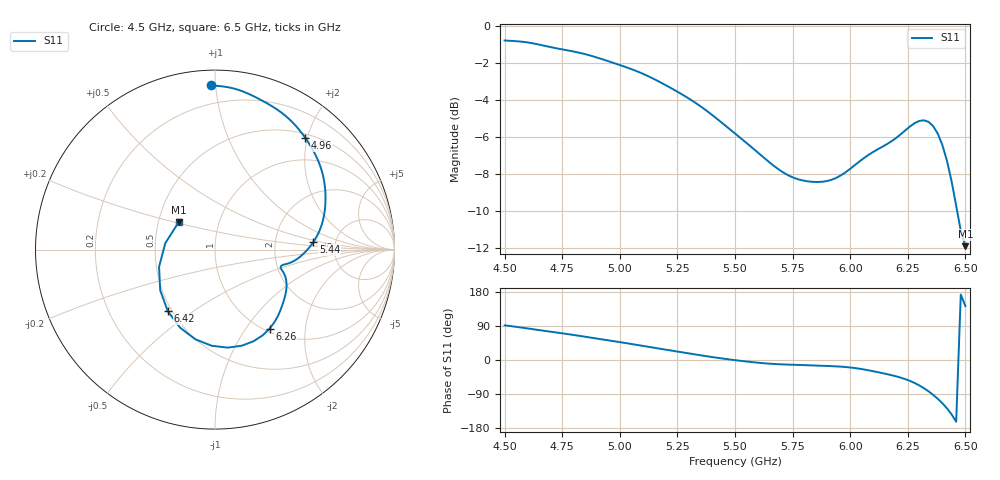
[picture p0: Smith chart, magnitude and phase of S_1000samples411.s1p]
! TOUCHSTONE file generated by CST MICROWAVE STUDIO
! Date and time: Fri Oct 28 02:02:47 2022
! Project name: L.cst
! Parameters = {Di=1.27; Epsilon_r=1.56; InnerDiameter=1.27; Length=2; Lf=10; Lg=60; OuterConductorThickness=0.2921; OuterDiameter=3.6; Wf=3; Wp=41.2; de=1.5; df=6.8; g=0.8; gx=0.598422; gy=4.99143; h=2.34; hf=1.524; px=10.3303; py=9.15505; w=9.7; wx=9.73185; wy=4.16362}
! Header version: 2018
! Port assignment regex: !\s*Touchstone port\s*([0-9]+)\s*=\s*(CST MWS port|CST DS port)\s*([0-9]+|Zmin|Zmax)\s*\(\"(.*)\"\)(\s*mode\s*([0-9]+))?.*
! Touchstone port assignment:
! Touchstone port 1 = CST MWS port 1 ("")
# GHz S DB R 50
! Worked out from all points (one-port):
!   101 points, 4.5 GHz to 6.5 GHz, reference 50 ohm
!   lowest |S11| = -11.9 dB at 6.5 GHz (marker M1), VSWR 1.68, Z = 31.9 + j10.5 ohm
!   |S11| at or under -10 dB: 6.464 GHz to end of sweep
!   S11 on the Smith chart (normalised r, x): 4.5 GHz: 0.09, +0.97; 4.96 GHz: 0.57, +1.97; 5.44 GHz: 3.39, +0.41; 6.26 GHz: 1.05, -1.30; 6.42 GHz: 0.47, -0.40; 6.5 GHz: 0.64, +0.21
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4.5  -0.78 91.4
4.62  -0.92 81.5
4.76  -1.28 69.6
4.84  -1.49 62.3
4.96  -1.94 50.9
5  -2.11 47.1
5.12  -2.69 35.2
5.26  -3.62 21.3
5.34  -4.25 13.5
5.44  -5.20 4.4
5.5  -5.81 -0.4
5.62  -7.06 -8.3
5.76  -8.23 -12.7
5.9  -8.38 -15.8
6  -7.72 -19.7
6.14  -6.53 -34.7
6.22  -5.85 -46.7
6.26  -5.43 -55.4
6.3  -5.13 -67.2
6.34  -5.18 -82.6
6.36  -5.41 -91.9
6.38  -5.82 -102.3
6.4  -6.43 -114.0
6.42  -7.29 -127.5
6.44  -8.40 -143.4
6.46  -9.73 -162.8
6.48  -11.08 172.7
6.5  -11.91 142.4
